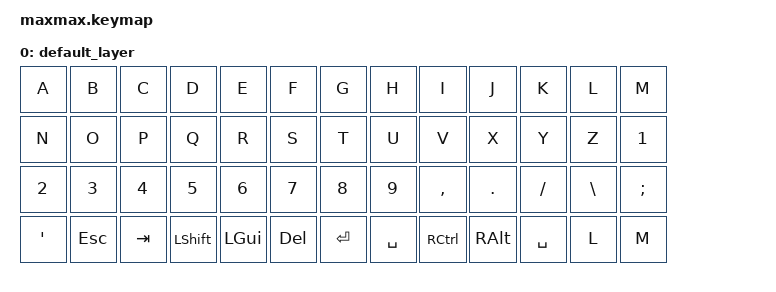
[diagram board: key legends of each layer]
#include <behaviors.dtsi>
#include <dt-bindings/zmk/keys.h>

/ {
    keymap {
        compatible = "zmk,keymap";

        default_layer {
// --------------------------------------------------------------------------------------------------------------------------------------------------------------------
// |   ESC   |    Q    |    W    |    E    |    R    |    T    |                                          |    Y    |    U    |    I    |    O    |    P    |    \    |
// |   TAB   |    A    |    S    |    D    |    F    |    G    |                                          |    H    |    J    |    K    |    L    |    ;    |    '    |
// |  SHIFT  |    Z    |    X    |    C    |    V    |    B    | CTRL+A  | CTRL+C  |  |  CTRL+V |  CTRL+X |    N    |    M    |    ,    |    .    |    /    |  R CTRL |
//                               |   GUI   |   DEL   | RETURN  |  SPACE  | ESCAPE  |  |  RETURN |  SPACE  |   TAB   |   BSPC  |  R ALT  |
            bindings = <
    &kp A    &kp B    &kp C    &kp D     &kp E     &kp F    &kp G     &kp H     &kp I     &kp J     &kp K    &kp L &kp M
    &kp N    &kp O    &kp P    &kp Q     &kp R     &kp S    &kp T     &kp U     &kp V     &kp X     &kp Y    &kp Z &kp 1
    &kp 2    &kp 3    &kp 4    &kp 5     &kp 6     &kp 7    &kp 8     &kp 9     &kp COMMA     &kp DOT     &kp FSLH    &kp BSLH &kp SEMI
    &kp SQT    &kp ESC    &kp TAB    &kp LSHIFT     &kp LGUI     &kp DEL    &kp RET     &kp SPACE     &kp RCTRL     &kp RALT     &kp SPACE    &kp L &kp M

            >;
        };
    };
};
